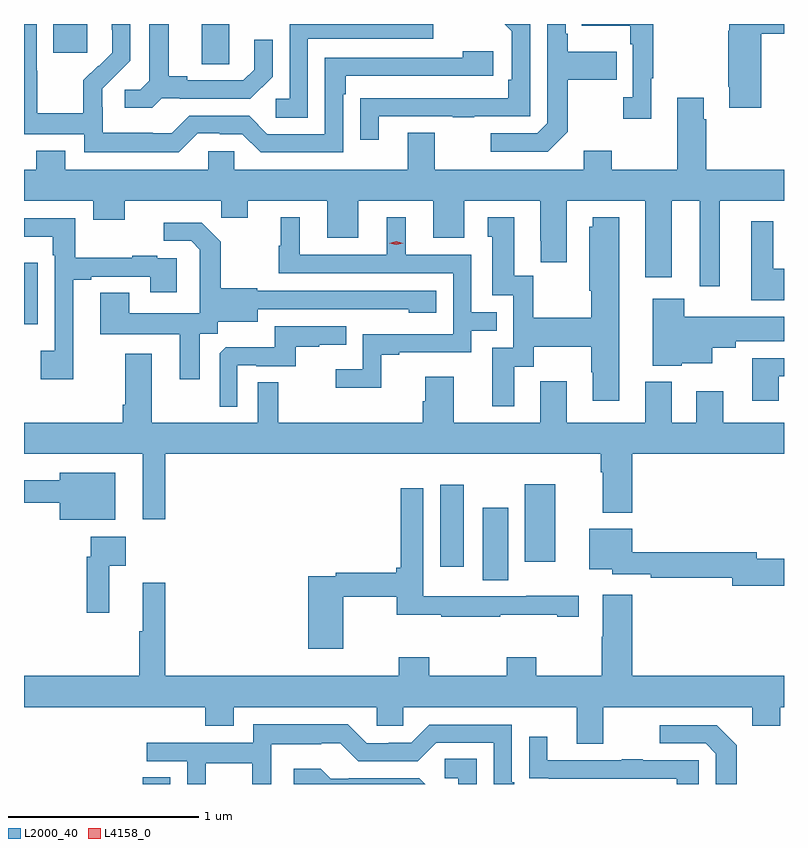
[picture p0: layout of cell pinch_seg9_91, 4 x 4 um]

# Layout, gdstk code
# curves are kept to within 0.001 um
import gdstk
lib = gdstk.Library(unit=1e-6, precision=1e-09)
def R(c, l, rs):  # rectangles x0, y0, x1, y1
    for r in rs: c.add(gdstk.rectangle(r[:2], r[2:], *l))
def P(c, l, *ps):  # polygons
    for p in ps: c.add(gdstk.Polygon(p, *l))
L2000_40 = (2000, 40)
L4158_0 = (4158, 0)

pinch_seg9_91 = lib.new_cell('pinch_seg9_91')
R(pinch_seg9_91, L2000_40, [(1120.394,1180.031,1120.537,1180.067), (1122.182,1181.104,1122.316,1181.485), (1121.96,1181.175,1122.082,1181.605), (1122.404,1181.202,1122.565,1181.608), (1119.768,1182.45,1119.84,1182.775), (1120.703,1183.819,1120.848,1184.031), (1119.923,1183.881,1120.102,1184.031)])
P(pinch_seg9_91, L2000_40, [(1123.069,1183.745),(1123.081,1183.745),(1123.081,1184.031),(1122.703,1184.031),(1122.703,1184.021),(1122.96,1184.021),(1122.96,1183.925),(1122.972,1183.925),(1122.972,1183.646),(1122.921,1183.646),(1122.921,1183.533),(1123.069,1183.533)],
  [(1121.262,1183.953),(1121.921,1183.953),(1121.921,1184.031),(1121.166,1184.031),(1121.166,1183.638),(1121.094,1183.638),(1121.094,1183.537),(1121.262,1183.537)],
  [(1120.494,1183.641),(1120.588,1183.641),(1120.588,1183.638),(1120.96,1183.638),(1121.076,1183.754),(1121.076,1183.948),(1120.979,1183.948),(1120.979,1183.791),(1120.922,1183.734),(1120.627,1183.734),(1120.627,1183.757),(1120.531,1183.757),(1120.531,1184.031),(1120.427,1184.031),(1120.427,1183.733),(1120.38,1183.686),(1120.299,1183.686),(1120.299,1183.589),(1120.442,1183.589)],
  [(1123.649,1183.979),(1123.768,1183.979),(1123.768,1184.031),(1123.481,1184.031),(1123.481,1183.995),(1123.474,1183.995),(1123.474,1183.702),(1123.481,1183.702),(1123.481,1183.59),(1123.649,1183.59)],
  [(1120.683,1183.455),(1120.799,1183.455),(1120.799,1183.452),(1120.917,1183.452),(1121.013,1183.356),(1121.448,1183.356),(1121.448,1183.661),(1121.461,1183.661),(1121.461,1183.758),(1122.238,1183.758),(1122.238,1183.888),(1122.077,1183.888),(1122.077,1183.854),(1121.352,1183.854),(1121.352,1183.452),(1121.049,1183.452),(1120.953,1183.548),(1120.638,1183.548),(1120.545,1183.455),(1120.445,1183.455),(1120.445,1183.459),(1120.182,1183.459),(1120.182,1183.593),(1120.18,1183.593),(1120.18,1183.69),(1120.326,1183.838),(1120.326,1184.031),(1120.23,1184.031),(1120.23,1184.002),(1120.232,1184.002),(1120.232,1183.88),(1120.161,1183.809),(1120.158,1183.812),(1120.081,1183.735),(1120.081,1183.561),(1119.837,1183.561),(1119.837,1183.784),(1119.834,1183.784),(1119.834,1184.031),(1119.768,1184.031),(1119.768,1183.452),(1120.086,1183.452),(1120.086,1183.355),(1120.583,1183.355)],
  [(1122.631,1183.465),(1122.631,1183.738),(1122.887,1183.738),(1122.887,1183.885),(1122.631,1183.885),(1122.631,1183.981),(1122.618,1183.981),(1122.618,1184.031),(1122.522,1184.031),(1122.522,1183.509),(1122.468,1183.455),(1122.225,1183.455),(1122.225,1183.359),(1122.525,1183.359)],
  [(1121.635,1183.545),(1122.025,1183.545),(1122.025,1183.54),(1122.137,1183.54),(1122.137,1183.545),(1122.432,1183.545),(1122.432,1184.031),(1122.297,1184.031),(1122.336,1183.992),(1122.336,1183.738),(1122.316,1183.738),(1122.316,1183.641),(1121.539,1183.64),(1121.539,1183.422),(1121.635,1183.422)],
  [(1123.429,1183.1),(1123.768,1183.1),(1123.768,1183.264),(1123.358,1183.264),(1123.358,1183.529),(1123.345,1183.529),(1123.345,1183.642),(1123.205,1183.642),(1123.205,1183.264),(1122.861,1183.264),(1122.861,1183.363),(1122.713,1183.363),(1122.713,1183.264),(1121.929,1183.264),(1121.929,1183.459),(1121.789,1183.459),(1121.789,1183.264),(1120.875,1183.264),(1120.875,1183.362),(1120.737,1183.362),(1120.737,1183.264),(1119.985,1183.264),(1119.985,1183.363),(1119.833,1183.363),(1119.833,1183.264),(1119.768,1183.264),(1119.768,1183.1),(1120.133,1183.1),(1120.133,1183.001),(1120.297,1183.001),(1120.297,1183.1),(1120.807,1183.1),(1120.807,1183.01),(1120.945,1183.01),(1120.945,1183.1),(1121.363,1183.1),(1121.363,1182.906),(1121.527,1182.906),(1121.527,1183.1),(1121.921,1183.1),(1121.921,1182.906),(1122.085,1182.906),(1122.085,1183.1),(1122.485,1183.1),(1122.485,1182.889),(1122.488,1182.889),(1122.488,1182.777),(1122.625,1182.777),(1122.625,1183.1),(1123.037,1183.1),(1123.037,1182.699),(1123.177,1182.699),(1123.177,1183.1),(1123.325,1183.1),(1123.325,1182.651),(1123.429,1182.651)],
  [(1121.649,1182.291),(1121.743,1182.291),(1121.743,1182.303),(1122.123,1182.303),(1122.123,1182.417),(1122.257,1182.417),(1122.257,1182.513),(1122.123,1182.513),(1122.123,1182.816),(1121.776,1182.816),(1121.776,1183.015),(1121.678,1183.015),(1121.678,1182.816),(1121.218,1182.816),(1121.218,1183.015),(1121.12,1183.015),(1121.12,1182.864),(1121.109,1182.864),(1121.109,1182.72),(1122.027,1182.72),(1122.027,1182.399),(1121.55,1182.399),(1121.55,1182.214),(1121.409,1182.214),(1121.409,1182.116),(1121.649,1182.116)],
  [(1122.349,1182.226),(1122.451,1182.226),(1122.451,1182.332),(1122.754,1182.332),(1122.754,1182.198),(1122.761,1182.198),(1122.761,1182.048),(1122.901,1182.048),(1122.901,1183.015),(1122.761,1183.015),(1122.761,1182.963),(1122.743,1182.963),(1122.743,1182.627),(1122.754,1182.627),(1122.754,1182.484),(1122.447,1182.484),(1122.447,1182.707),(1122.349,1182.707),(1122.349,1183.015),(1122.209,1183.015),(1122.209,1182.912),(1122.233,1182.912),(1122.233,1182.603),(1122.342,1182.603),(1122.342,1182.327),(1122.233,1182.327),(1122.233,1182.018),(1122.349,1182.018)],
  [(1120.027,1182.684),(1120.123,1182.684),(1120.123,1182.702),(1120.433,1182.702),(1120.433,1182.618),(1120.573,1182.618),(1120.573,1182.798),(1120.469,1182.798),(1120.469,1182.811),(1120.337,1182.811),(1120.337,1182.8),(1120.039,1182.8),(1120.039,1183.008),(1119.768,1183.008),(1119.768,1182.911),(1119.918,1182.911),(1119.918,1182.815),(1119.93,1182.815),(1119.93,1182.31),(1119.855,1182.31),(1119.855,1182.162),(1120.027,1182.162)],
  [(1123.768,1182.742),(1123.711,1182.742),(1123.711,1182.994),(1123.595,1182.994),(1123.595,1182.578),(1123.768,1182.578)],
  [(1120.693,1182.4),(1120.788,1182.4),(1120.788,1182.464),(1120.999,1182.464),(1120.999,1182.531),(1121.793,1182.53),(1121.793,1182.512),(1121.938,1182.512),(1121.938,1182.627),(1120.995,1182.627),(1120.995,1182.64),(1120.803,1182.64),(1120.803,1182.885),(1120.703,1182.985),(1120.503,1182.985),(1120.503,1182.891),(1120.647,1182.891),(1120.694,1182.844),(1120.694,1182.749),(1120.692,1182.749),(1120.692,1182.508),(1120.321,1182.508),(1120.321,1182.617),(1120.169,1182.617),(1120.169,1182.398),(1120.589,1182.398),(1120.589,1182.162),(1120.693,1182.162)],
  [(1123.23,1182.245),(1123.39,1182.245),(1123.39,1182.326),(1123.513,1182.326),(1123.513,1182.362),(1123.768,1182.362),(1123.768,1182.49),(1123.242,1182.49),(1123.242,1182.586),(1123.076,1182.586),(1123.076,1182.233),(1123.23,1182.233)],
  [(1120.89,1182.234),(1120.99,1182.234),(1120.99,1182.231),(1121.198,1182.231),(1121.198,1182.333),(1121.321,1182.333),(1121.321,1182.344),(1121.465,1182.344),(1121.465,1182.441),(1121.088,1182.441),(1121.088,1182.329),(1120.829,1182.329),(1120.797,1182.297),(1120.797,1182.017),(1120.89,1182.017)],
  [(1120.511,1181.768),(1122.803,1181.768),(1122.803,1181.672),(1122.815,1181.672),(1122.815,1181.459),(1122.968,1181.459),(1122.968,1181.768),(1123.768,1181.768),(1123.768,1181.932),(1123.447,1181.932),(1123.447,1182.097),(1123.307,1182.097),(1123.307,1181.932),(1123.177,1181.932),(1123.177,1182.148),(1123.037,1182.148),(1123.037,1181.932),(1122.625,1181.932),(1122.625,1182.151),(1122.485,1182.151),(1122.485,1181.932),(1122.031,1181.932),(1122.031,1182.175),(1121.879,1182.175),(1121.879,1182.045),(1121.867,1182.045),(1121.867,1181.932),(1121.107,1181.932),(1121.107,1182.146),(1120.998,1182.146),(1120.998,1181.932),(1120.441,1181.932),(1120.441,1182.295),(1120.301,1182.295),(1120.301,1182.028),(1120.289,1182.028),(1120.289,1181.932),(1119.768,1181.932),(1119.768,1181.768),(1120.394,1181.768),(1120.394,1181.424),(1120.511,1181.424)],
  [(1123.741,1182.177),(1123.768,1182.177),(1123.768,1182.273),(1123.601,1182.273),(1123.601,1182.048),(1123.741,1182.048)],
  [(1120.249,1181.668),(1119.956,1181.668),(1119.956,1181.629),(1119.768,1181.629),(1119.768,1181.512),(1119.956,1181.512),(1119.956,1181.423),(1120.249,1181.423)],
  [(1121.447,1181.016),(1121.731,1181.016),(1121.731,1180.921),(1121.965,1180.921),(1121.965,1180.911),(1122.275,1180.911),(1122.275,1180.921),(1122.575,1180.921),(1122.575,1180.911),(1122.688,1180.911),(1122.688,1181.021),(1122.412,1181.021),(1122.412,1181.019),(1122.078,1181.019),(1122.078,1181.02),(1121.868,1181.02),(1121.868,1181.587),(1121.752,1181.587),(1121.752,1181.168),(1121.726,1181.168),(1121.726,1181.144),(1121.41,1181.144),(1121.41,1181.124),(1121.264,1181.124),(1121.264,1180.743),(1121.447,1180.743)],
  [(1123.768,1181.216),(1123.624,1181.216),(1123.624,1181.252),(1122.97,1181.252),(1122.97,1181.374),(1122.743,1181.374),(1122.743,1181.162),(1122.864,1181.162),(1122.864,1181.136),(1123.066,1181.136),(1123.066,1181.116),(1123.496,1181.116),(1123.496,1181.074),(1123.768,1181.074)],
  [(1120.217,1181.18),(1120.303,1181.18),(1120.303,1181.332),(1120.119,1181.332),(1120.119,1181.228),(1120.099,1181.228),(1120.099,1180.932),(1120.217,1180.932)],
  [(1122.817,1180.436),(1123.601,1180.436),(1123.601,1180.337),(1123.749,1180.337),(1123.749,1180.436),(1123.768,1180.436),(1123.768,1180.6),(1122.968,1180.6),(1122.968,1181.026),(1122.815,1181.026),(1122.815,1180.805),(1122.808,1180.805),(1122.808,1180.6),(1122.465,1180.6),(1122.465,1180.699),(1122.31,1180.699),(1122.31,1180.6),(1121.901,1180.6),(1121.901,1180.699),(1121.741,1180.699),(1121.741,1180.6),(1120.511,1180.6),(1120.511,1181.089),(1120.394,1181.089),(1120.394,1180.836),(1120.375,1180.836),(1120.375,1180.6),(1119.768,1180.6),(1119.768,1180.436),(1120.721,1180.436),(1120.721,1180.337),(1120.873,1180.337),(1120.873,1180.436),(1121.625,1180.436),(1121.625,1180.338),(1121.763,1180.338),(1121.763,1180.436),(1122.677,1180.436),(1122.677,1180.242),(1122.817,1180.242)],
  [(1120.725,1180.14),(1120.969,1180.14),(1120.969,1180.031),(1121.068,1180.031),(1121.068,1180.107),(1121.07,1180.107),(1121.07,1180.241),(1121.333,1180.241),(1121.333,1180.245),(1121.433,1180.245),(1121.526,1180.152),(1121.841,1180.152),(1121.937,1180.248),(1122.24,1180.248),(1122.24,1180.031),(1122.349,1180.031),(1122.349,1180.039),(1122.336,1180.039),(1122.336,1180.344),(1121.901,1180.344),(1121.805,1180.248),(1121.687,1180.248),(1121.687,1180.245),(1121.571,1180.245),(1121.471,1180.345),(1120.974,1180.345),(1120.974,1180.248),(1120.413,1180.248),(1120.413,1180.152),(1120.626,1180.152),(1120.626,1180.031),(1120.725,1180.031)],
  [(1123.519,1180.235),(1123.413,1180.341),(1123.113,1180.341),(1123.113,1180.245),(1123.356,1180.245),(1123.41,1180.191),(1123.41,1180.031),(1123.519,1180.031)],
  [(1123.32,1180.155),(1123.025,1180.155),(1123.025,1180.16),(1122.913,1180.16),(1122.913,1180.155),(1122.523,1180.155),(1122.523,1180.279),(1122.427,1180.279),(1122.427,1180.06),(1122.529,1180.06),(1122.529,1180.059),(1123.204,1180.059),(1123.204,1180.031),(1123.32,1180.031)],
  [(1122.15,1180.163),(1121.982,1180.163),(1121.982,1180.062),(1122.054,1180.062),(1122.054,1180.031),(1122.15,1180.031)],
  [(1121.848,1180.062),(1121.476,1180.062),(1121.476,1180.059),(1121.382,1180.059),(1121.33,1180.111),(1121.187,1180.111),(1121.187,1180.031),(1121.879,1180.031)])
P(pinch_seg9_91, L4158_0, [(1121.727,1182.868),(1121.691,1182.878),(1121.691,1182.878),(1121.691,1182.878),(1121.727,1182.888),(1121.763,1182.878),(1121.763,1182.878),(1121.763,1182.878)])

lib.write_gds('pinch_seg9_91.gds')
